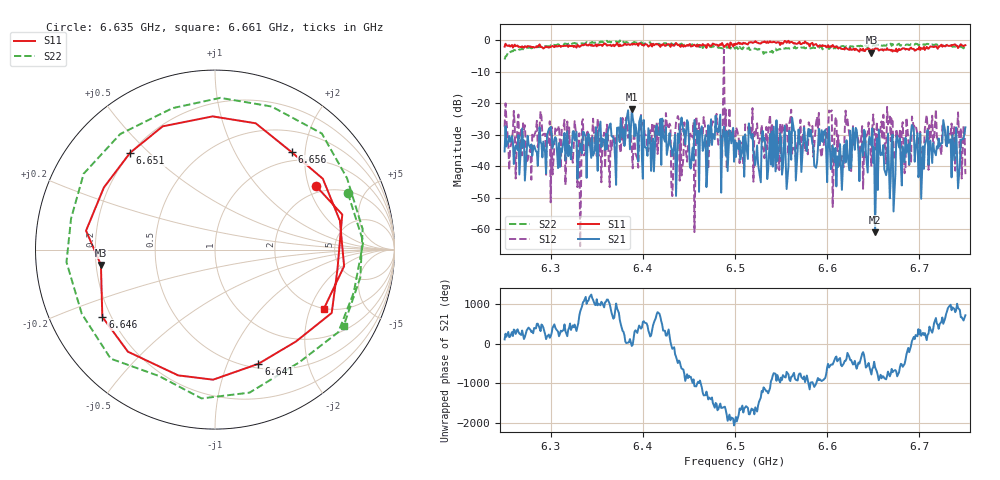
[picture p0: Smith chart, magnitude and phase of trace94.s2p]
# Hz S RI R 50
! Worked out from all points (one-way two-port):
!   401 points, 6.25 GHz to 6.75 GHz, reference 50 ohm
!   highest |S21| = -21.82 dB at 6.388 GHz (marker M1); lowest = -60.9 dB at 6.652 GHz (marker M2)
!   lowest |S11| = -3.9 dB at 6.648 GHz (marker M3), VSWR 4.58, Z = 11 - j3.18 ohm
!   |S11| at or under -10 dB: nowhere
!   |S22| runs from -6.0 to 0.0 dB; largest |S21 - S12| = 0.75
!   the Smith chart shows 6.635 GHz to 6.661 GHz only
!   S11 on the Smith chart (normalised r, x): 6.635 GHz: 1.75, +2.23; 6.641 GHz: 0.55, -1.30; 6.646 GHz: 0.17, -0.27; 6.651 GHz: 0.20, +0.44; 6.656 GHz: 0.84, +1.75; 6.661 GHz: 1.97, -2.50
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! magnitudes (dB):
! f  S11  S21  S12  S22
! 6.25 GHz  -2.0  -35.2  -27.4  -6.0
! 6.276 GHz  -1.9  -33.0  -36.2  -2.3
! 6.288 GHz  -1.2  -27.6  -27.2  -2.1
! 6.334 GHz  -1.4  -35.9  -25.8  -0.9
! 6.388 GHz  -1.2  -21.8  -34.3  -0.9
! 6.418 GHz  -1.6  -30.0  -26.2  -1.0
! 6.428 GHz  -1.2  -32.5  -28.1  -1.5
! 6.432 GHz  -1.5  -36.7  -49.4  -1.3
! 6.436 GHz  -0.8  -49.3  -26.0  -1.2
! 6.442 GHz  -1.4  -24.5  -42.9  -1.0
! 6.5 GHz  -1.4  -31.7  -36.2  -2.6
! 6.584 GHz  -0.8  -32.8  -27.1  -2.3
! 6.635 GHz  -3.5  -44.6  -38.0  -1.9
! 6.641 GHz  -3.3  -28.9  -37.8  -1.7
! 6.646 GHz  -2.7  -30.4  -30.6  -1.7
! 6.648 GHz  -3.9  -33.4  -39.7  -1.6
! 6.651 GHz  -2.9  -33.9  -28.5  -1.6
! 6.652 GHz  -2.5  -60.9  -34.7  -1.7
! 6.656 GHz  -3.2  -28.2  -32.1  -1.1
! 6.661 GHz  -3.2  -33.2  -23.6  -1.6
! 6.668 GHz  -3.0  -50.1  -24.2  -1.4
! 6.75 GHz  -1.5  -27.6  -42.4  -1.8
